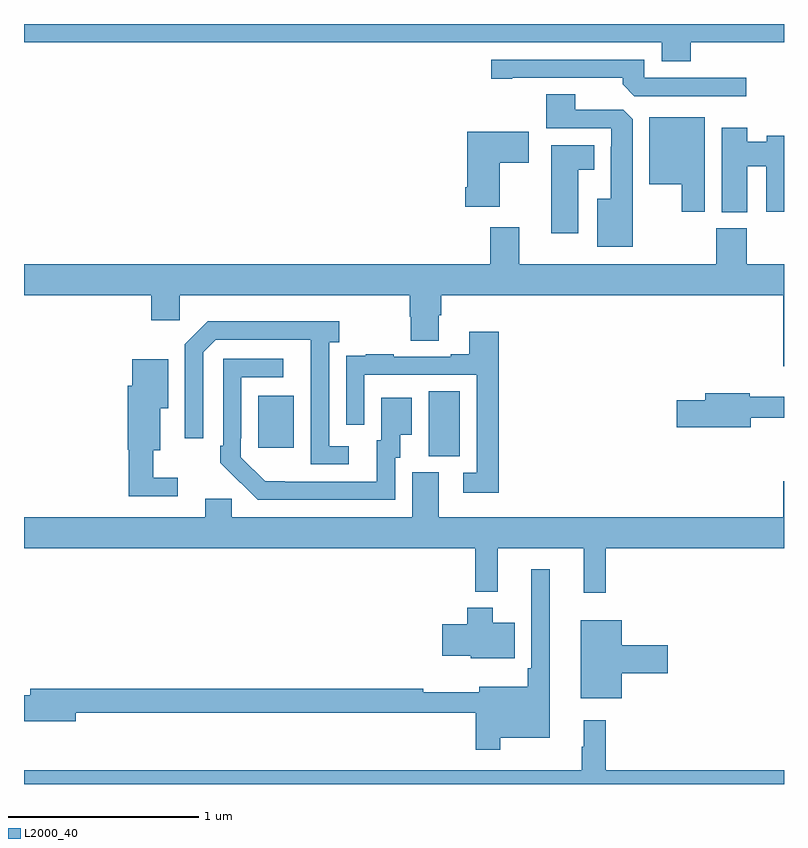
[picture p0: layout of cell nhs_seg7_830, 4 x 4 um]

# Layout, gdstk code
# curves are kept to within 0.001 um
import gdstk
lib = gdstk.Library(unit=1e-6, precision=1e-09)
def R(c, l, rs):  # rectangles x0, y0, x1, y1
    for r in rs: c.add(gdstk.rectangle(r[:2], r[2:], *l))
def P(c, l, *ps):  # polygons
    for p in ps: c.add(gdstk.Polygon(p, *l))
L2000_40 = (2000, 40)

nhs_seg7_830 = lib.new_cell('nhs_seg7_830')
R(nhs_seg7_830, L2000_40, [(175.13,1043.725,175.294,1044.068), (174.233,1043.769,174.421,1044.043)])
P(nhs_seg7_830, L2000_40, [(176.51,1045.904),(177,1045.904),(177,1046),(173,1046),(173,1045.904),(176.357,1045.904),(176.357,1045.805),(176.51,1045.805)],
  [(176.8,1045.716),(176.265,1045.716),(176.265,1045.812),(175.458,1045.812),(175.458,1045.711),(175.57,1045.711),(175.57,1045.716),(176.15,1045.716),(176.15,1045.682),(176.211,1045.62),(176.8,1045.62)],
  [(176.203,1045.499),(176.154,1045.548),(175.9,1045.548),(175.9,1045.631),(175.748,1045.631),(175.748,1045.452),(176.091,1045.452),(176.091,1045.355),(176.087,1045.355),(176.087,1045.081),(176.018,1045.081),(176.018,1044.827),(176.203,1044.827)],
  [(176.584,1045.51),(176.291,1045.51),(176.291,1045.157),(176.462,1045.157),(176.462,1045.011),(176.584,1045.011)],
  [(176.806,1045.252),(176.906,1045.252),(176.906,1045.011),(177,1045.011),(177,1045.412),(176.91,1045.412),(176.91,1045.381),(176.806,1045.381),(176.806,1045.453),(176.672,1045.453),(176.672,1045.009),(176.806,1045.009)],
  [(175.504,1045.27),(175.657,1045.27),(175.657,1045.432),(175.334,1045.432),(175.334,1045.141),(175.322,1045.141),(175.322,1045.037),(175.504,1045.037)],
  [(175.918,1045.232),(176.002,1045.232),(176.002,1045.363),(175.775,1045.363),(175.775,1044.9),(175.918,1044.9)],
  [(177,1044.736),(176.804,1044.736),(176.804,1044.924),(176.644,1044.924),(176.644,1044.736),(175.606,1044.736),(175.606,1044.93),(175.454,1044.93),(175.454,1044.736),(173,1044.736),(173,1044.572),(173.669,1044.572),(173.669,1044.441),(173.82,1044.441),(173.82,1044.572),(175.031,1044.572),(175.031,1044.459),(175.036,1044.459),(175.036,1044.334),(175.183,1044.334),(175.183,1044.466),(175.196,1044.466),(175.196,1044.572),(176.996,1044.572),(176.996,1044.198),(177,1044.198)],
  [(174.709,1043.778),(174.606,1043.778),(174.606,1044.326),(174.658,1044.326),(174.658,1044.436),(173.968,1044.436),(173.847,1044.315),(173.847,1043.82),(173.943,1043.82),(173.943,1044.273),(174.009,1044.339),(174.509,1044.339),(174.51,1043.682),(174.709,1043.682)],
  [(175.499,1044.379),(175.343,1044.379),(175.343,1044.262),(175.247,1044.262),(175.247,1044.249),(174.947,1044.249),(174.947,1044.262),(174.799,1044.262),(174.799,1044.255),(174.697,1044.255),(174.697,1044.146),(174.696,1044.146),(174.696,1043.892),(174.792,1043.892),(174.792,1044.153),(175.383,1044.153),(175.383,1043.637),(175.311,1043.637),(175.311,1043.532),(175.499,1043.532)],
  [(174.954,1043.718),(174.979,1043.718),(174.979,1043.837),(175.042,1043.837),(175.042,1044.034),(174.881,1044.034),(174.881,1043.808),(174.857,1043.808),(174.857,1043.592),(174.27,1043.593),(174.141,1043.721),(174.141,1043.821),(174.144,1043.821),(174.144,1044.141),(174.364,1044.141),(174.364,1044.237),(174.048,1044.237),(174.048,1043.779),(174.033,1043.779),(174.033,1043.691),(174.23,1043.496),(174.954,1043.496)],
  [(173.809,1043.611),(173.68,1043.611),(173.68,1043.756),(173.716,1043.756),(173.716,1043.978),(173.758,1043.978),(173.758,1044.235),(173.57,1044.235),(173.57,1044.096),(173.546,1044.096),(173.546,1043.76),(173.551,1043.76),(173.551,1043.514),(173.809,1043.514)],
  [(176.824,1043.928),(177,1043.928),(177,1044.037),(176.82,1044.037),(176.82,1044.056),(176.585,1044.056),(176.585,1044.02),(176.436,1044.02),(176.436,1043.878),(176.824,1043.878)],
  [(176.063,1043.24),(177,1043.24),(177,1043.593),(176.996,1043.593),(176.996,1043.404),(175.183,1043.404),(175.183,1043.64),(175.043,1043.64),(175.043,1043.404),(174.093,1043.404),(174.093,1043.502),(173.954,1043.502),(173.954,1043.404),(173,1043.404),(173,1043.24),(175.375,1043.24),(175.375,1043.012),(175.493,1043.012),(175.493,1043.24),(175.946,1043.24),(175.946,1043.007),(176.063,1043.007)],
  [(175.507,1042.244),(175.768,1042.244),(175.768,1043.131),(175.671,1043.131),(175.671,1042.609),(175.651,1042.609),(175.651,1042.513),(175.397,1042.513),(175.397,1042.484),(175.101,1042.484),(175.101,1042.502),(173.033,1042.502),(173.033,1042.466),(173,1042.466),(173,1042.331),(173.272,1042.331),(173.272,1042.374),(175.378,1042.374),(175.378,1042.179),(175.507,1042.179)],
  [(175.582,1042.849),(175.468,1042.849),(175.468,1042.927),(175.334,1042.927),(175.334,1042.842),(175.2,1042.842),(175.2,1042.676),(175.35,1042.676),(175.35,1042.661),(175.582,1042.661)],
  [(176.146,1042.583),(176.389,1042.583),(176.389,1042.73),(176.146,1042.73),(176.146,1042.861),(175.931,1042.861),(175.931,1042.451),(176.146,1042.451)],
  [(177,1042.072),(176.063,1042.072),(176.063,1042.336),(175.946,1042.336),(175.946,1042.196),(175.935,1042.196),(175.935,1042.072),(173,1042.072),(173,1042),(177,1042)])

lib.write_gds('nhs_seg7_830.gds')
